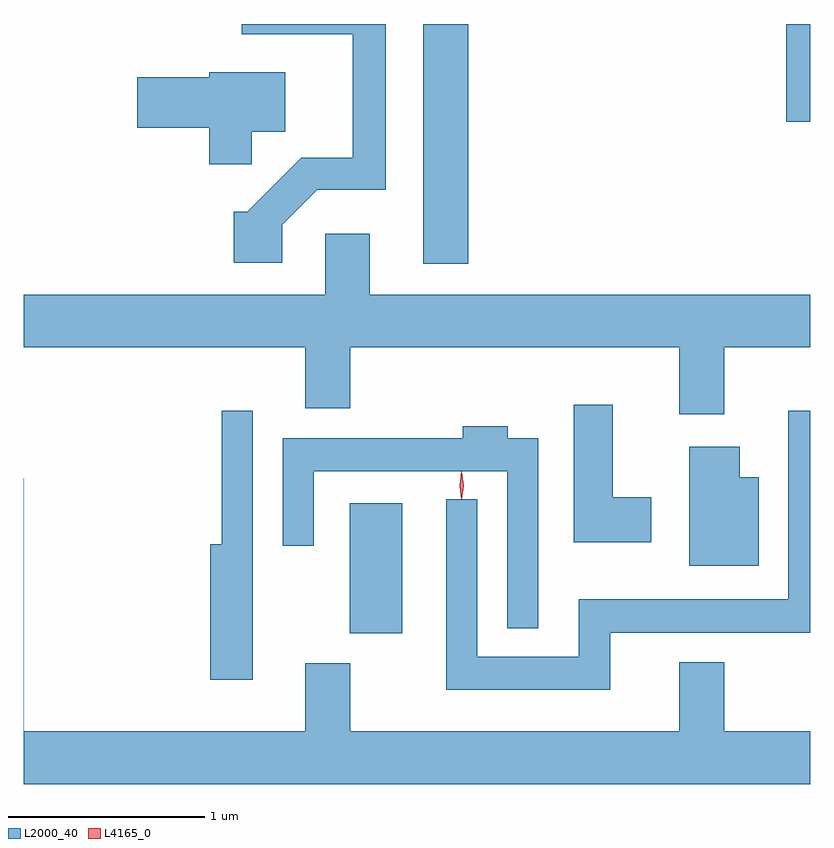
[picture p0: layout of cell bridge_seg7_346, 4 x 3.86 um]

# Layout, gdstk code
import gdstk
lib = gdstk.Library(unit=1e-6, precision=1e-09)
def R(c, l, rs):  # rectangles x0, y0, x1, y1
    for r in rs: c.add(gdstk.rectangle(r[:2], r[2:], *l))
def P(c, l, *ps):  # polygons
    for p in ps: c.add(gdstk.Polygon(p, *l))
L2000_40 = (2000, 40)
L4165_0 = (4165, 0)

bridge_seg7_346 = lib.new_cell('bridge_seg7_346')
R(bridge_seg7_346, L2000_40, [(1204.646,1759.481,1204.914,1760.144), (1205.021,1761.361,1205.249,1762.579), (1206.866,1762.081,1206.988,1762.579)])
P(bridge_seg7_346, L2000_40, [(1204.304,1761.559),(1204.482,1761.736),(1204.829,1761.736),(1204.829,1762.579),(1204.096,1762.579),(1204.096,1762.526),(1204.661,1762.526),(1204.661,1761.899),(1204.399,1761.899),(1204.124,1761.624),(1204.056,1761.624),(1204.056,1761.366),(1204.304,1761.366)],
  [(1204.149,1762.031),(1204.319,1762.031),(1204.319,1762.334),(1203.931,1762.334),(1203.931,1762.309),(1203.566,1762.309),(1203.566,1762.051),(1203.931,1762.051),(1203.931,1761.866),(1204.149,1761.866)],
  [(1206.549,1760.936),(1206.988,1760.936),(1206.988,1761.204),(1204.749,1761.204),(1204.749,1761.514),(1204.521,1761.514),(1204.521,1761.204),(1202.988,1761.204),(1202.988,1760.936),(1204.421,1760.936),(1204.421,1760.626),(1204.649,1760.626),(1204.649,1760.936),(1206.321,1760.936),(1206.321,1760.596),(1206.549,1760.596)],
  [(1206.179,1760.174),(1205.984,1760.174),(1205.984,1760.644),(1205.786,1760.644),(1205.786,1759.946),(1206.179,1759.946)],
  [(1204.154,1760.613),(1203.996,1760.613),(1203.996,1759.934),(1203.936,1759.934),(1203.936,1759.246),(1204.154,1759.246)],
  [(1205.969,1759.486),(1206.988,1759.486),(1206.988,1760.613),(1206.876,1760.613),(1206.876,1759.654),(1205.811,1759.654),(1205.811,1759.364),(1205.294,1759.364),(1205.294,1760.163),(1205.136,1760.163),(1205.136,1759.196),(1205.969,1759.196)],
  [(1205.604,1760.474),(1205.449,1760.474),(1205.449,1760.534),(1205.221,1760.534),(1205.221,1760.474),(1204.306,1760.474),(1204.306,1759.928),(1204.464,1759.928),(1204.464,1760.306),(1205.446,1760.306),(1205.446,1759.508),(1205.604,1759.508)],
  [(1206.724,1760.274),(1206.629,1760.274),(1206.629,1760.429),(1206.371,1760.429),(1206.371,1759.826),(1206.724,1759.826)],
  [(1206.988,1758.984),(1206.549,1758.984),(1206.549,1759.334),(1206.321,1759.334),(1206.321,1758.984),(1204.649,1758.984),(1204.649,1759.329),(1204.421,1759.329),(1204.421,1758.984),(1202.989,1758.984),(1202.989,1760.269),(1202.988,1760.269),(1202.988,1758.716),(1206.988,1758.716)])
P(bridge_seg7_346, L4165_0, [(1205.214,1760.164),(1205.205,1760.233),(1205.214,1760.302),(1205.215,1760.303),(1205.215,1760.302),(1205.225,1760.233),(1205.215,1760.164),(1205.215,1760.164)],
  [(1205.214,1760.167),(1205.205,1760.234),(1205.214,1760.3),(1205.215,1760.3),(1205.215,1760.3),(1205.225,1760.234),(1205.215,1760.167),(1205.215,1760.167)])

lib.write_gds('bridge_seg7_346.gds')
